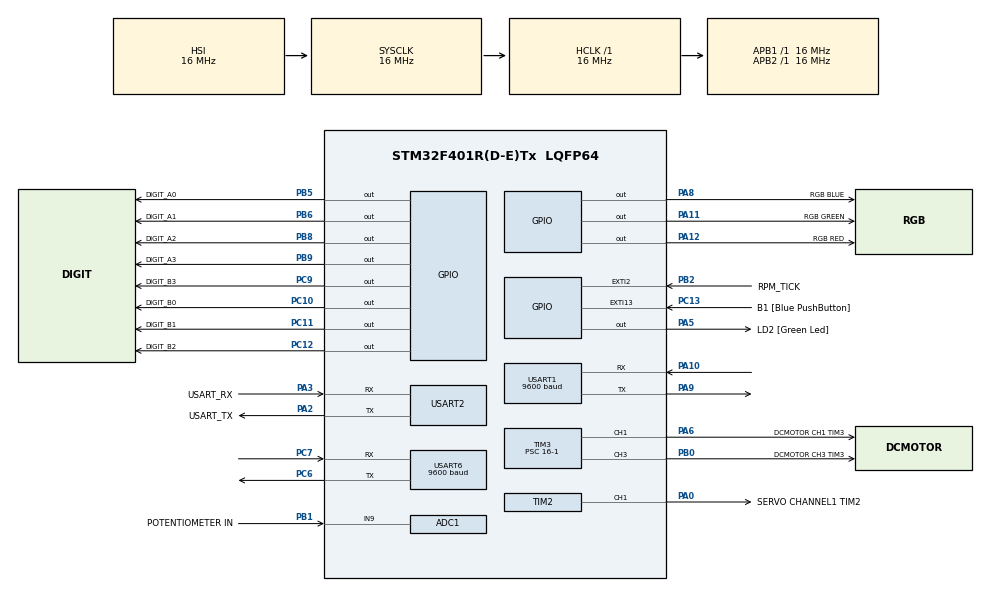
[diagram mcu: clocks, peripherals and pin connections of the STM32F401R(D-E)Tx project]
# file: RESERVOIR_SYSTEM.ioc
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ADC1.Channel-1\#ChannelRegularConversion=ADC_CHANNEL_9
ADC1.NbrOfConversionFlag=1
ADC1.Rank-1\#ChannelRegularConversion=1
ADC1.SamplingTime-1\#ChannelRegularConversion=ADC_SAMPLETIME_3CYCLES
ADC1.master=1
Mcu.Family=STM32F4
Mcu.Name=STM32F401R(D-E)Tx
Mcu.Package=LQFP64
NVIC.EXTI15_10_IRQn=true\:0\:0\:false\:false\:true\:true\:true\:true
NVIC.EXTI2_IRQn=true\:0\:0\:false\:false\:true\:true\:true\:true
NVIC.PriorityGroup=NVIC_PRIORITYGROUP_0
NVIC.TIM4_IRQn=true\:0\:0\:false\:false\:true\:true\:true\:true
NVIC.TIM5_IRQn=true\:0\:0\:false\:false\:true\:true\:true\:true
NVIC.USART1_IRQn=true\:0\:0\:false\:false\:true\:true\:true\:true
NVIC.USART6_IRQn=true\:0\:0\:false\:false\:true\:true\:true\:true
PA0-WKUP.GPIO_Label=SERVO CHANNEL1 TIM2
PA0-WKUP.Signal=S_TIM2_CH1_ETR
PA10.Mode=Asynchronous
PA10.Signal=USART1_RX
PA11.GPIO_Label=RGB GREEN
PA11.Signal=GPIO_Output
PA12.GPIO_Label=RGB RED
PA12.Signal=GPIO_Output
PA13.GPIO_Label=TMS
PA13.Mode=Serial_Wire
PA13.Signal=SYS_JTMS-SWDIO
PA14.GPIO_Label=TCK
PA14.Mode=Serial_Wire
PA14.Signal=SYS_JTCK-SWCLK
PA2.GPIO_Label=USART_TX
PA2.GPIO_Mode=GPIO_MODE_AF_PP
PA2.GPIO_PuPd=GPIO_NOPULL
PA2.GPIO_Speed=GPIO_SPEED_FREQ_LOW
PA2.Mode=Asynchronous
PA2.Signal=USART2_TX
PA3.GPIO_Label=USART_RX
PA3.GPIO_Mode=GPIO_MODE_AF_PP
PA3.GPIO_PuPd=GPIO_NOPULL
PA3.GPIO_Speed=GPIO_SPEED_FREQ_LOW
PA3.Mode=Asynchronous
PA3.Signal=USART2_RX
PA5.GPIO_Label=LD2 [Green Led]
PA5.GPIO_Mode=GPIO_MODE_OUTPUT_PP
PA5.GPIO_PuPd=GPIO_NOPULL
PA5.GPIO_Speed=GPIO_SPEED_FREQ_LOW
PA5.Signal=GPIO_Output
PA6.GPIO_Label=DCMOTOR CH1 TIM3
PA6.Signal=S_TIM3_CH1
PA8.GPIO_Label=RGB BLUE
PA8.Signal=GPIO_Output
PA9.Mode=Asynchronous
PA9.Signal=USART1_TX
PB0.GPIO_Label=DCMOTOR CH3 TIM3
PB0.Signal=S_TIM3_CH3
PB1.GPIO_Label=POTENTIOMETER IN
PB1.Signal=ADCx_IN9
PB2.GPIO_Label=RPM_TICK
PB2.Signal=GPXTI2
PB3.GPIO_Label=SWO
PB3.Signal=SYS_JTDO-SWO
PB5.GPIO_Label=DIGIT_A0
PB5.Signal=GPIO_Output
PB6.GPIO_Label=DIGIT_A1
PB6.Signal=GPIO_Output
PB8.GPIO_Label=DIGIT_A2
PB8.Signal=GPIO_Output
PB9.GPIO_Label=DIGIT_A3
PB9.Signal=GPIO_Output
PC10.GPIO_Label=DIGIT_B0
PC10.Signal=GPIO_Output
PC11.GPIO_Label=DIGIT_B1
PC11.Signal=GPIO_Output
PC12.GPIO_Label=DIGIT_B2
PC12.Signal=GPIO_Output
PC13-ANTI_TAMP.GPIO_Label=B1 [Blue PushButton]
PC13-ANTI_TAMP.GPIO_ModeDefaultEXTI=GPIO_MODE_IT_FALLING
PC13-ANTI_TAMP.GPIO_PuPd=GPIO_NOPULL
PC13-ANTI_TAMP.Signal=GPXTI13
PC14-OSC32_IN.Mode=LSE-External-Oscillator
PC14-OSC32_IN.Signal=RCC_OSC32_IN
PC15-OSC32_OUT.Mode=LSE-External-Oscillator
PC15-OSC32_OUT.Signal=RCC_OSC32_OUT
PC6.Mode=Asynchronous
PC6.Signal=USART6_TX
PC7.Mode=Asynchronous
PC7.Signal=USART6_RX
PC9.GPIO_Label=DIGIT_B3
PC9.Signal=GPIO_Output
PH0\ -\ OSC_IN.Mode=HSE-External-Clock-Source
PH0\ -\ OSC_IN.Signal=RCC_OSC_IN
PH1\ -\ OSC_OUT.Mode=HSE-External-Clock-Source
PH1\ -\ OSC_OUT.Signal=RCC_OSC_OUT
ProjectManager.HeapSize=0x200
ProjectManager.StackSize=0x400
ProjectManager.TargetToolchain=STM32CubeIDE
RCC.48MHZClocksFreq_Value=48000000
RCC.AHBFreq_Value=16000000
RCC.APB1Freq_Value=16000000
RCC.APB1TimFreq_Value=16000000
RCC.APB2Freq_Value=16000000
RCC.APB2TimFreq_Value=16000000
RCC.CortexFreq_Value=16000000
RCC.HCLKFreq_Value=16000000
RCC.HSE_VALUE=8000000
RCC.HSI_VALUE=16000000
RCC.PLLN=336
RCC.PLLP=RCC_PLLP_DIV4
RCC.PLLQ=7
RCC.SYSCLKFreq_VALUE=16000000
RCC.VCOOutputFreq_Value=336000000
SH.ADCx_IN9.0=ADC1_IN9,IN9
SH.S_TIM2_CH1_ETR.0=TIM2_CH1,PWM Generation1 CH1
SH.S_TIM3_CH1.0=TIM3_CH1,PWM Generation1 CH1
SH.S_TIM3_CH3.0=TIM3_CH3,PWM Generation3 CH3
TIM2.AutoReloadPreload=TIM_AUTORELOAD_PRELOAD_ENABLE
TIM2.Channel-PWM\ Generation1\ CH1=TIM_CHANNEL_1
TIM2.Period=20000-1
TIM2.Prescaler=16-1
TIM2.Pulse-PWM\ Generation1\ CH1=500-1
TIM3.AutoReloadPreload=TIM_AUTORELOAD_PRELOAD_ENABLE
TIM3.Channel-PWM\ Generation1\ CH1=TIM_CHANNEL_1
TIM3.Channel-PWM\ Generation3\ CH3=TIM_CHANNEL_3
TIM3.Period=2000-1
TIM3.Prescaler=16-1
TIM3.Pulse-PWM\ Generation1\ CH1=1200-1
TIM4.AutoReloadPreload=TIM_AUTORELOAD_PRELOAD_DISABLE
TIM4.Period=65535
TIM4.Prescaler=16000-1
TIM5.AutoReloadPreload=TIM_AUTORELOAD_PRELOAD_ENABLE
TIM5.Period=1000-1
TIM5.Prescaler=16000-1
USART1.BaudRate=9600
USART1.VirtualMode=VM_ASYNC
USART2.VirtualMode=VM_ASYNC
USART6.BaudRate=9600
USART6.Mode=MODE_TX_RX
USART6.VirtualMode=VM_ASYNC
VP_TIM4_VS_ClockSourceINT.Mode=Internal
VP_TIM5_VS_ClockSourceINT.Mode=Internal
board=NUCLEO-F401RE

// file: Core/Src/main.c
/* USER CODE BEGIN Header */
/**
 ******************************************************************************
 * @file           : main.c
 * @brief          : Main program body
 ******************************************************************************
 * @attention
 *
 * Copyright (c) 2023 STMicroelectronics.
 * All rights reserved.
 *
 * This software is licensed under terms that can be found in the LICENSE file
 * in the root directory of this software component.
 * If no LICENSE file comes with this software, it is provided AS-IS.
 *
 ******************************************************************************
 */
/* USER CODE END Header */
#include "main.h"

/* USER CODE BEGIN Includes */
#include <string.h>
#include <stdio.h>
#include <math.h>
/* USER CODE END Includes */

/* USER CODE BEGIN PM */
void DIGITS_Display(uint8_t DIGIT_A, uint8_t DIGIT_B);
int findMin(int zone1, int zone2, int zone3);
void ADC_Select_CH(int CH);
float GetPwmPercentage();
void DisplayWaterDepth();
/* USER CODE END PM */

ADC_HandleTypeDef hadc1;

TIM_HandleTypeDef htim2;
TIM_HandleTypeDef htim3;
TIM_HandleTypeDef htim4;
TIM_HandleTypeDef htim5;

UART_HandleTypeDef huart1;
UART_HandleTypeDef huart2;
UART_HandleTypeDef huart6;

void SystemClock_Config(void);
static void MX_GPIO_Init(void);
static void MX_USART2_UART_Init(void);
static void MX_TIM2_Init(void);
static void MX_TIM3_Init(void);
static void MX_ADC1_Init(void);
static void MX_USART1_UART_Init(void);
static void MX_USART6_UART_Init(void);
static void MX_TIM5_Init(void);
static void MX_TIM4_Init(void);

/* USER CODE BEGIN 0 */
int clockSecs = 0;
int mins = 0;
int hours = 0;

int terminated = 0;

uint8_t commandToStartDistanceSensor = 0x55;
volatile uint16_t distance = 0;

volatile uint8_t distanceValueRxFlag = 0;
uint8_t distanceValueReturnedBuff[2] = {0};
uint8_t rcv_intpt_flag = 00;
int twoBytesRecieved = 0;
uint8_t bytes[2] = {0};

uint8_t puttyPrintMessage[256] = {0};

volatile uint8_t inletMotorSpeed = 0;
volatile uint8_t zone1MotorSpeed = 0;
volatile uint8_t zone2MotorSpeed = 0;
volatile uint8_t zone3MotorSpeed = 0;

volatile uint8_t wallClockTime = 0;

volatile uint8_t inletStartTime = 0;

volatile uint8_t inletStopTme = 0;
volatile uint8_t zone1StartTime = 0;
volatile uint8_t zone1StopTme = 0;

volatile uint8_t zone2StartTime = 0;
volatile uint8_t zone2StopTme = 0;
volatile uint8_t zone3StartTime = 0;
volatile uint8_t zone3StopTme = 0;

volatile int inletRunning = 0;
volatile int zone1Running = 0;
volatile int zone2Running = 0;
volatile int zone3Running = 0;
volatile int printCondition = 0;

volatile int firstRun = 1;
volatile int currentlyActiveZone = -1;
volatile int currentMotorPwm = 0;
volatile int currentMotorRpm = 0;

volatile int deltaTime = 0;
volatile int speed = 0;

volatile int inletRunTime = 0;
volatile int zone1RunTime = 0;
volatile int zone2RunTime = 0;
volatile int zone3RunTime = 0;

int waterReservoirDepth = 0;

volatile int rpmTickValue = 0;

volatile int setupModeFlag = 1;

/* USER CODE END 0 */

int main(void)
{

  /* MCU Configuration--------------------------------------------------------*/

  /* Reset of all peripherals, Initializes the Flash interface and the Systick. */
  HAL_Init();

  /* Configure the system clock */
  SystemClock_Config();

  /* Initialize all configured peripherals */
  MX_GPIO_Init();
  MX_USART2_UART_Init();
  MX_TIM2_Init();
  MX_TIM3_Init();
  MX_ADC1_Init();
  MX_USART1_UART_Init();
  MX_USART6_UART_Init();
  MX_TIM5_Init();
  MX_TIM4_Init();
  /* USER CODE BEGIN 2 */
    setupModeFlag = 1;

    HAL_TIM_Base_Start(&htim2);
    HAL_TIM_PWM_Start(&htim2, TIM_CHANNEL_1);

    HAL_TIM_Base_Start_IT(&htim5);
    HAL_TIM_Base_Start_IT(&htim4);

    TIM2->PSC = 16 - 1;
    TIM2->ARR = 20000 - 1;
    TIM2->CCR1 = 2500;

    // DC MOTOR
    HAL_TIM_Base_Init(&htim3);
    HAL_TIM_PWM_Start(&htim3, TIM_CHANNEL_1);
    HAL_TIM_PWM_Start(&htim3, TIM_CHANNEL_3);

    TIM3->PSC = 16 - 1;
    //   TIM3->ARR = 2000-1;
    TIM3->CCR1 = 0;
    TIM3->CCR3 = 0;

    sprintf((char *)puttyPrintMessage, "\r\n SETUP MODE ");
    HAL_UART_Transmit(&huart6, puttyPrintMessage, strlen((char *)puttyPrintMessage), 1000);
    HAL_GPIO_WritePin(GPIOA, LD2_Pin, GPIO_PIN_RESET);

  /* USER CODE END 2 */

  /* Infinite loop */
  /* USER CODE BEGIN WHILE */

    while (1)
    {
        if (setupModeFlag == 1)
        {
            rcv_intpt_flag = 00;
            sprintf((char *)puttyPrintMessage, "\r\n INLET MOTOR SPEED PWM (option 0-3): ");
            HAL_UART_Transmit(&huart6, puttyPrintMessage, strlen((char *)puttyPrintMessage), 1000);
            HAL_UART_Receive_IT(&huart6, &bytes[0], 1);
            while (rcv_intpt_flag == (00))
            {
            }
            inletMotorSpeed = bytes[0] - 48;
            rcv_intpt_flag = (00);
            bytes[0] = 0;

            sprintf((char *)puttyPrintMessage, "\r\n ZONE 1 MOTOR SPEED PWM (option 0-3): ");
            HAL_UART_Transmit(&huart6, puttyPrintMessage, strlen((char *)puttyPrintMessage), 1000);
            HAL_UART_Receive_IT(&huart6, &bytes[0], 1);
            while (rcv_intpt_flag == (00))
            {
            }
            zone1MotorSpeed = bytes[0] - 48;
            rcv_intpt_flag = (00);
            bytes[0] = 0;

            sprintf((char *)puttyPrintMessage, "\r\n ZONE 2 MOTOR SPEED PWM (option 0-3): ");
            HAL_UART_Transmit(&huart6, puttyPrintMessage, strlen((char *)puttyPrintMessage), 1000);
            HAL_UART_Receive_IT(&huart6, &bytes[0], 1);

            while (rcv_intpt_flag == (00))
            {
            }
            zone2MotorSpeed = bytes[0] - 48;
            rcv_intpt_flag = (00);
            bytes[0] = 0;

            sprintf((char *)puttyPrintMessage, "\r\n ZONE 3 MOTOR SPEED PWM (option 0-3): ");
            HAL_UART_Transmit(&huart6, puttyPrintMessage, strlen((char *)puttyPrintMessage), 1000);
            HAL_UART_Receive_IT(&huart6, &bytes[0], 1);

            while (rcv_intpt_flag == (00))
            {
            }
            zone3MotorSpeed = bytes[0] - 48;
            rcv_intpt_flag = (00);
            bytes[0] = 0;
            twoBytesRecieved = 1;
            sprintf((char *)puttyPrintMessage, "\r\n CURRENT WALL CLOCK TIME (0-23): ");
            HAL_UART_Transmit(&huart6, puttyPrintMessage, strlen((char *)puttyPrintMessage), 1000);
            HAL_UART_Receive_IT(&huart6, bytes, 2);

            while (rcv_intpt_flag == (00))
            {
            }
            rcv_intpt_flag = (00);
            int value = (bytes[0] - 48) * 10 + (bytes[1] - 48);
            bytes[0] = 0;
            bytes[1] = 0;
            wallClockTime = value;
            hours = wallClockTime;

            sprintf((char *)puttyPrintMessage, "\r\n INLET WALL CLOCK START TIME (0-23): ");
            HAL_UART_Transmit(&huart6, puttyPrintMessage, strlen((char *)puttyPrintMessage), 1000);
            HAL_UART_Receive_IT(&huart6, bytes, 2);

            while (rcv_intpt_flag == (00))
            {
            }
            rcv_intpt_flag = (00);
            value = (bytes[0] - 48) * 10 + (bytes[1] - 48);
            bytes[0] = 0;
            bytes[1] = 0;
            inletStartTime = value;

            sprintf((char *)puttyPrintMessage, "\r\n INLET WALL CLOCK STOP TIME (0-23) : ");
            HAL_UART_Transmit(&huart6, puttyPrintMessage, strlen((char *)puttyPrintMessage), 1000);
            HAL_UART_Receive_IT(&huart6, bytes, 2);

            while (rcv_intpt_flag == (00))
            {
            }
            rcv_intpt_flag = (00);
            value = (bytes[0] - 48) * 10 + (bytes[1] - 48);
            bytes[0] = 0;
            bytes[1] = 0;
            inletStopTme = value;

            inletRunTime = (inletStopTme - inletStartTime) * 6;

            sprintf((char *)puttyPrintMessage, "\r\n ZONE 1 WALL CLOCK START TIME (0-23): ");
            HAL_UART_Transmit(&huart6, puttyPrintMessage, strlen((char *)puttyPrintMessage), 1000);
            HAL_UART_Receive_IT(&huart6, bytes, 2);

            while (rcv_intpt_flag == (00))
            {
            }
            rcv_intpt_flag = (00);
            value = (bytes[0] - 48) * 10 + (bytes[1] - 48);
            bytes[0] = 0;
            bytes[1] = 0;
            zone1StartTime = value;

            sprintf((char *)puttyPrintMessage, "\r\n ZONE 1 WALL CLOCK STOP TIME (0-23) : ");
            HAL_UART_Transmit(&huart6, puttyPrintMessage, strlen((char *)puttyPrintMessage), 1000);
            HAL_UART_Receive_IT(&huart6, bytes, 2);

            while (rcv_intpt_flag == (00))
            {
            }
            rcv_intpt_flag = (00);
            value = (bytes[0] - 48) * 10 + (bytes[1] - 48);
            bytes[0] = 0;
            bytes[1] = 0;
            zone1StopTme = value;

            zone1RunTime = (zone1StopTme - zone1StartTime) * 6;

            sprintf((char *)puttyPrintMessage, "\r\n ZONE 2 WALL CLOCK START TIME (0-23): ");
            HAL_UART_Transmit(&huart6, puttyPrintMessage, strlen((char *)puttyPrintMessage), 1000);
            HAL_UART_Receive_IT(&huart6, bytes, 2);

            while (rcv_intpt_flag == (00))
            {
            }
            rcv_intpt_flag = (00);
            value = (bytes[0] - 48) * 10 + (bytes[1] - 48);
            bytes[0] = 0;
            bytes[1] = 0;
            zone2StartTime = value;

            sprintf((char *)puttyPrintMessage, "\r\n ZONE 2 WALL CLOCK STOP TIME (0-23) : ");
            HAL_UART_Transmit(&huart6, puttyPrintMessage, strlen((char *)puttyPrintMessage), 1000);
            HAL_UART_Receive_IT(&huart6, bytes, 2);

            while (rcv_intpt_flag == (00))
            {
            }
            rcv_intpt_flag = (00);
            value = (bytes[0] - 48) * 10 + (bytes[1] - 48);
            bytes[0] = 0;
            bytes[1] = 0;
            zone2StopTme = value;

            zone2RunTime = (zone2StopTme - zone2StartTime) * 6;

            sprintf((char *)puttyPrintMessage, "\r\n ZONE 3 WALL CLOCK START TIME (0-23): ");
            HAL_UART_Transmit(&huart6, puttyPrintMessage, strlen((char *)puttyPrintMessage), 1000);
            HAL_UART_Receive_IT(&huart6, bytes, 2);

            while (rcv_intpt_flag == (00))
            {
            }
            rcv_intpt_flag = (00);
            value = (bytes[0] - 48) * 10 + (bytes[1] - 48);
            bytes[0] = 0;
            bytes[1] = 0;
            zone3StartTime = value;

            sprintf((char *)puttyPrintMessage, "\r\n ZONE 3 WALL CLOCK STOP TIME (0-23) : ");
            HAL_UART_Transmit(&huart6, puttyPrintMessage, strlen((char *)puttyPrintMessage), 1000);
            HAL_UART_Receive_IT(&huart6, bytes, 2);

            while (rcv_intpt_flag == (00))
            {
            }
            rcv_intpt_flag = (00);
            value = (bytes[0] - 48) * 10 + (bytes[1] - 48);
            bytes[0] = 0;
            bytes[1] = 0;
            zone3StopTme = value;

            zone3RunTime = (zone3StopTme - zone3StartTime) * 6;

            setupModeFlag = 0;
            // Wait for blue button to be pressed
            while (HAL_GPIO_ReadPin(GPIOC, B1_Pin) == 1)
            {
                HAL_GPIO_WritePin(GPIOA, LD2_Pin, GPIO_PIN_SET);
                HAL_Delay(10);
                HAL_GPIO_WritePin(GPIOA, LD2_Pin, GPIO_PIN_RESET);
                HAL_Delay(490);
            }

            HAL_GPIO_WritePin(GPIOA, LD2_Pin, GPIO_PIN_SET);

            clockSecs = 0;

            sprintf((char *)puttyPrintMessage, "\r\n WALL CLOCK | ZONE/INLET | MOTOR PWM | MOTOR RPM | WATER DEPTH");
            HAL_UART_Transmit(&huart6, puttyPrintMessage, strlen((char *)puttyPrintMessage), 1000);
        }

        // END OF SETUP MODE

        // START OF RUN MODE
        if (clockSecs >= 6)
        {
            hours++;
            clockSecs = 0;
            printCondition = 1;
            DisplayWaterDepth();
        }
        DisplayWaterDepth();
        // STARTING OF INLET
        HAL_UART_Receive_IT(&huart1, distanceValueReturnedBuff, 2);
        HAL_UART_Transmit(&huart1, &commandToStartDistanceSensor, 1, 500);

        while (terminated == 1)
        {
            TIM3->CCR3 = 0;
            TIM3->CCR1 = 0;
            HAL_GPIO_WritePin(GPIOA, LD2_Pin, GPIO_PIN_RESET);

            HAL_GPIO_WritePin(GPIOA, LD2_Pin | RGB_BLUE_Pin | RGB_RED_Pin | RGB_GREEN_Pin, GPIO_PIN_RESET);
            HAL_GPIO_WritePin(GPIOA, RGB_RED_Pin, GPIO_PIN_SET);
            HAL_Delay(500);

            HAL_GPIO_WritePin(GPIOA, LD2_Pin | RGB_BLUE_Pin | RGB_RED_Pin | RGB_GREEN_Pin, GPIO_PIN_RESET);
            HAL_GPIO_WritePin(GPIOA, RGB_GREEN_Pin, GPIO_PIN_SET);
            HAL_Delay(500);

            HAL_GPIO_WritePin(GPIOA, LD2_Pin | RGB_BLUE_Pin | RGB_RED_Pin | RGB_GREEN_Pin, GPIO_PIN_RESET);
            HAL_GPIO_WritePin(GPIOA, RGB_BLUE_Pin, GPIO_PIN_SET);
            HAL_Delay(500);
        }

        if ((hours == inletStartTime) && (inletRunning == 0))
        {
            inletRunning = 1;
            currentlyActiveZone = 0;
            if (inletMotorSpeed == 0)
            {
                float adc = GetPwmPercentage();
                float adc_speed = (adc * 2000);
                TIM3->CCR1 = adc_speed;
                currentMotorPwm = (int)(adc * 100);
            }

            TIM2->CCR1 = 500;
            HAL_GPIO_WritePin(GPIOA, LD2_Pin | RGB_BLUE_Pin | RGB_RED_Pin | RGB_GREEN_Pin, GPIO_PIN_RESET);
            HAL_GPIO_WritePin(GPIOA, LD2_Pin | RGB_BLUE_Pin | RGB_RED_Pin, GPIO_PIN_SET);

            // Rotating DC Motor for inlet
            TIM3->CCR3 = 0;
            if (inletMotorSpeed == 1)
            {
                // 60% pwm -> 0.6x2000
                TIM3->CCR1 = 1200;
                currentMotorPwm = 60;
            }
            if (inletMotorSpeed == 2)
            {
                // 80% pwm -> 0.8x2000
                TIM3->CCR1 = 1600;
                currentMotorPwm = 80;
            }
            if (inletMotorSpeed == 3)
            {
                // 99% pwm -> 0.99x2000
                TIM3->CCR1 = 1980;
                currentMotorPwm = 99;
            }
        }

        // END INLET
        if ((hours == inletStopTme) && (inletRunning == 1))
        {
            if ((hours == zone3StartTime) || (hours == zone2StartTime) || (hours == zone1StartTime))
            {
            }
            else
            {
                TIM3->CCR1 = 0;
                TIM3->CCR3 = 0;
                HAL_GPIO_WritePin(GPIOA, LD2_Pin | RGB_BLUE_Pin | RGB_RED_Pin | RGB_GREEN_Pin, GPIO_PIN_RESET);
            }
        }

        // ZONE 1 START
        if ((hours == zone1StartTime) && (zone1Running == 0))
        {
            zone1Running = 1;
            currentlyActiveZone = 1;
            if (zone1MotorSpeed == 0)
            {
                float adc = GetPwmPercentage();
                float adc_speed = (adc * 2000);
                TIM3->CCR3 = adc_speed;
                currentMotorPwm = (int)(adc * 100);
            }

            TIM2->CCR1 = 2000;
            HAL_GPIO_WritePin(GPIOA, LD2_Pin | RGB_BLUE_Pin | RGB_RED_Pin | RGB_GREEN_Pin, GPIO_PIN_RESET);
            HAL_GPIO_WritePin(GPIOA, LD2_Pin | RGB_RED_Pin, GPIO_PIN_SET);

            TIM3->CCR1 = 0;
            if (zone1MotorSpeed == 1)
            {
                // 60% pwm -> 0.6x2000
                TIM3->CCR3 = 1200;
                currentMotorPwm = 60;
            }
            if (zone1MotorSpeed == 2)
            {
                // 80% pwm -> 0.8x2000
                TIM3->CCR3 = 1600;
                currentMotorPwm = 80;
            }
            if (zone1MotorSpeed == 3)
            {
                // 99% pwm -> 0.99x2000
                TIM3->CCR3 = 1980;
                currentMotorPwm = 99;
            }
        }

        // ZONE 1 END
        if ((hours == zone1StopTme) && (zone1Running == 1))
        {
            if ((hours == zone3StartTime) || (hours == zone2StartTime) || (hours == zone1StartTime))
            {
            }
            else
            {
                TIM3->CCR1 = 0;
                TIM3->CCR3 = 0;
                HAL_GPIO_WritePin(GPIOA, LD2_Pin | RGB_BLUE_Pin | RGB_RED_Pin | RGB_GREEN_Pin, GPIO_PIN_RESET);
            }
        }

        // ZONE 2 START
        if ((hours == zone2StartTime) && (zone2Running == 0))
        {
            zone2Running = 1;
            currentlyActiveZone = 2;
            if (zone2MotorSpeed == 0)
            {
                float adc = GetPwmPercentage();
                float adc_speed = (adc * 2000);
                TIM3->CCR3 = adc_speed;
                currentMotorPwm = (int)(adc * 100);
            }

            TIM2->CCR1 = 1500;
            HAL_GPIO_WritePin(GPIOA, LD2_Pin | RGB_BLUE_Pin | RGB_RED_Pin | RGB_GREEN_Pin, GPIO_PIN_RESET);
            HAL_GPIO_WritePin(GPIOA, LD2_Pin | RGB_GREEN_Pin, GPIO_PIN_SET);

            TIM3->CCR1 = 0;
            if (zone2MotorSpeed == 1)
            {
                TIM3->CCR3 = 1200;
                currentMotorPwm = 60;
            }
            if (zone2MotorSpeed == 2)
            {
                TIM3->CCR3 = 1600;
                currentMotorPwm = 80;
            }
            if (zone2MotorSpeed == 3)
            {
                TIM3->CCR3 = 1980;
                currentMotorPwm = 99;
            }
        }

        // ZONE 2 END
        if ((hours == zone2StopTme) && (zone2Running == 1))
        {
            if ((hours == zone3StartTime) || (hours == zone2StartTime) || (hours == zone1StartTime))
            {
            }
            else
            {
                TIM3->CCR1 = 0;
                TIM3->CCR3 = 0;
                HAL_GPIO_WritePin(GPIOA, LD2_Pin | RGB_BLUE_Pin | RGB_RED_Pin | RGB_GREEN_Pin, GPIO_PIN_RESET);
            }
        }

        // ZONE 3 START
        if ((hours == zone3StartTime) && (zone3Running == 0))
        {
            zone3Running = 1;
            currentlyActiveZone = 3;
            if (zone3MotorSpeed == 0)
            {
                float adc = GetPwmPercentage();
                float adc_speed = (adc * 2000);
                TIM3->CCR3 = adc_speed;
                currentMotorPwm = (int)(adc * 100);
            }

            TIM2->CCR1 = 1000;
            HAL_GPIO_WritePin(GPIOA, LD2_Pin | RGB_BLUE_Pin | RGB_RED_Pin | RGB_GREEN_Pin, GPIO_PIN_RESET);
            HAL_GPIO_WritePin(GPIOA, LD2_Pin | RGB_BLUE_Pin, GPIO_PIN_SET); // turn on blue

            TIM3->CCR1 = 0;
            if (zone3MotorSpeed == 1)
            {
                // 60% pwm -> 0.6x2000
                TIM3->CCR3 = 1200;
                currentMotorPwm = 60;
            }
            if (zone3MotorSpeed == 2)
            {
                // 80% pwm -> 0.8x2000
                TIM3->CCR3 = 1600;
                currentMotorPwm = 80;
            }
            if (zone3MotorSpeed == 3)
            {
                // 99% pwm -> 0.99x2000
                TIM3->CCR3 = 1980;
                currentMotorPwm = 99;
            }
        }

        // ZONE 3 END
        if ((hours == zone3StopTme) && (zone3Running == 1))
        {
            currentMotorPwm = 0;
            if ((hours == zone3StartTime) || (hours == zone2StartTime) || (hours == zone1StartTime))
            {
            }
            else
            {
                TIM3->CCR1 = 0;
                TIM3->CCR3 = 0;
                HAL_GPIO_WritePin(GPIOA, LD2_Pin | RGB_BLUE_Pin | RGB_RED_Pin | RGB_GREEN_Pin, GPIO_PIN_RESET);
            }
        }
        if (printCondition == 1)
        {

            printCondition = 0;
            sprintf((char *)puttyPrintMessage, "\r\n %02d | %02d | %02d | %02d | %02d ", hours, currentlyActiveZone, currentMotorPwm, speed, waterReservoirDepth);
            HAL_UART_Transmit(&huart6, puttyPrintMessage, strlen((char *)puttyPrintMessage), 1000);
        }
        if (firstRun == 1 && clockSecs == 1)
        {
            DisplayWaterDepth();
            firstRun = 0;
            sprintf((char *)puttyPrintMessage, "\r\n %02d | %02d | %02d | %02d | %02d ", hours, currentlyActiveZone, currentMotorPwm, speed, waterReservoirDepth);
            HAL_UART_Transmit(&huart6, puttyPrintMessage, strlen((char *)puttyPrintMessage), 1000);
        }

    /* USER CODE END WHILE */

    }
}

void SystemClock_Config(void)
{
  RCC_OscInitTypeDef RCC_OscInitStruct = {0};
  RCC_ClkInitTypeDef RCC_ClkInitStruct = {0};

  /** Configure the main internal regulator output voltage
  */
  __HAL_RCC_PWR_CLK_ENABLE();
  __HAL_PWR_VOLTAGESCALING_CONFIG(PWR_REGULATOR_VOLTAGE_SCALE2);

  /** Initializes the RCC Oscillators according to the specified parameters
  * in the RCC_OscInitTypeDef structure.
  */
  RCC_OscInitStruct.OscillatorType = RCC_OSCILLATORTYPE_HSI;
  RCC_OscInitStruct.HSIState = RCC_HSI_ON;
  RCC_OscInitStruct.HSICalibrationValue = RCC_HSICALIBRATION_DEFAULT;
  RCC_OscInitStruct.PLL.PLLState = RCC_PLL_NONE;
  if (HAL_RCC_OscConfig(&RCC_OscInitStruct) != HAL_OK)
  {
    Error_Handler();
  }

  /** Initializes the CPU, AHB and APB buses clocks
  */
  RCC_ClkInitStruct.ClockType = RCC_CLOCKTYPE_HCLK|RCC_CLOCKTYPE_SYSCLK
                              |RCC_CLOCKTYPE_PCLK1|RCC_CLOCKTYPE_PCLK2;
  RCC_ClkInitStruct.SYSCLKSource = RCC_SYSCLKSOURCE_HSI;
  RCC_ClkInitStruct.AHBCLKDivider = RCC_SYSCLK_DIV1;
  RCC_ClkInitStruct.APB1CLKDivider = RCC_HCLK_DIV1;
  RCC_ClkInitStruct.APB2CLKDivider = RCC_HCLK_DIV1;

  if (HAL_RCC_ClockConfig(&RCC_ClkInitStruct, FLASH_LATENCY_0) != HAL_OK)
  {
    Error_Handler();
  }
}

static void MX_ADC1_Init(void)
{

  ADC_ChannelConfTypeDef sConfig = {0};

  /** Configure the global features of the ADC (Clock, Resolution, Data Alignment and number of conversion)
  */
  hadc1.Instance = ADC1;
  hadc1.Init.ClockPrescaler = ADC_CLOCK_SYNC_PCLK_DIV2;
  hadc1.Init.Resolution = ADC_RESOLUTION_12B;
  hadc1.Init.ScanConvMode = DISABLE;
  hadc1.Init.ContinuousConvMode = DISABLE;
  hadc1.Init.DiscontinuousConvMode = DISABLE;
  hadc1.Init.ExternalTrigConvEdge = ADC_EXTERNALTRIGCONVEDGE_NONE;
  hadc1.Init.ExternalTrigConv = ADC_SOFTWARE_START;
  hadc1.Init.DataAlign = ADC_DATAALIGN_RIGHT;
  hadc1.Init.NbrOfConversion = 1;
  hadc1.Init.DMAContinuousRequests = DISABLE;
  hadc1.Init.EOCSelection = ADC_EOC_SINGLE_CONV;
  if (HAL_ADC_Init(&hadc1) != HAL_OK)
  {
    Error_Handler();
  }

  /** Configure for the selected ADC regular channel its corresponding rank in the sequencer and its sample time.
  */
  sConfig.Channel = ADC_CHANNEL_9;
  sConfig.Rank = 1;
  sConfig.SamplingTime = ADC_SAMPLETIME_3CYCLES;
  if (HAL_ADC_ConfigChannel(&hadc1, &sConfig) != HAL_OK)
  {
    Error_Handler();
  }

}

static void MX_TIM2_Init(void)
{

  TIM_MasterConfigTypeDef sMasterConfig = {0};
  TIM_OC_InitTypeDef sConfigOC = {0};

  htim2.Instance = TIM2;
  htim2.Init.Prescaler = 16-1;
  htim2.Init.CounterMode = TIM_COUNTERMODE_UP;
  htim2.Init.Period = 20000-1;
  htim2.Init.ClockDivision = TIM_CLOCKDIVISION_DIV1;
  htim2.Init.AutoReloadPreload = TIM_AUTORELOAD_PRELOAD_ENABLE;
  if (HAL_TIM_PWM_Init(&htim2) != HAL_OK)
  {
    Error_Handler();
  }
  sMasterConfig.MasterOutputTrigger = TIM_TRGO_RESET;
  sMasterConfig.MasterSlaveMode = TIM_MASTERSLAVEMODE_DISABLE;
  if (HAL_TIMEx_MasterConfigSynchronization(&htim2, &sMasterConfig) != HAL_OK)
  {
    Error_Handler();
  }
  sConfigOC.OCMode = TIM_OCMODE_PWM1;
  sConfigOC.Pulse = 500-1;
  sConfigOC.OCPolarity = TIM_OCPOLARITY_HIGH;
  sConfigOC.OCFastMode = TIM_OCFAST_DISABLE;
  if (HAL_TIM_PWM_ConfigChannel(&htim2, &sConfigOC, TIM_CHANNEL_1) != HAL_OK)
  {
    Error_Handler();
  }
  HAL_TIM_MspPostInit(&htim2);

}

static void MX_TIM3_Init(void)
{

  TIM_MasterConfigTypeDef sMasterConfig = {0};
  TIM_OC_InitTypeDef sConfigOC = {0};

  htim3.Instance = TIM3;
  htim3.Init.Prescaler = 16-1;
  htim3.Init.CounterMode = TIM_COUNTERMODE_UP;
  htim3.Init.Period = 2000-1;
  htim3.Init.ClockDivision = TIM_CLOCKDIVISION_DIV1;
  htim3.Init.AutoReloadPreload = TIM_AUTORELOAD_PRELOAD_ENABLE;
  if (HAL_TIM_PWM_Init(&htim3) != HAL_OK)
  {
    Error_Handler();
  }
  sMasterConfig.MasterOutputTrigger = TIM_TRGO_RESET;
  sMasterConfig.MasterSlaveMode = TIM_MASTERSLAVEMODE_DISABLE;
  if (HAL_TIMEx_MasterConfigSynchronization(&htim3, &sMasterConfig) != HAL_OK)
  {
    Error_Handler();
  }
  sConfigOC.OCMode = TIM_OCMODE_PWM1;
  sConfigOC.Pulse = 1200-1;
  sConfigOC.OCPolarity = TIM_OCPOLARITY_HIGH;
  sConfigOC.OCFastMode = TIM_OCFAST_DISABLE;
  if (HAL_TIM_PWM_ConfigChannel(&htim3, &sConfigOC, TIM_CHANNEL_1) != HAL_OK)
  {
    Error_Handler();
  }
  sConfigOC.Pulse = 0;
  if (HAL_TIM_PWM_ConfigChannel(&htim3, &sConfigOC, TIM_CHANNEL_3) != HAL_OK)
  {
    Error_Handler();
  }
  HAL_TIM_MspPostInit(&htim3);

}

static void MX_TIM4_Init(void)
{

  TIM_ClockConfigTypeDef sClockSourceConfig = {0};
  TIM_MasterConfigTypeDef sMasterConfig = {0};

  htim4.Instance = TIM4;
  htim4.Init.Prescaler = 16000-1;
  htim4.Init.CounterMode = TIM_COUNTERMODE_UP;
  htim4.Init.Period = 65535;
  htim4.Init.ClockDivision = TIM_CLOCKDIVISION_DIV1;
  htim4.Init.AutoReloadPreload = TIM_AUTORELOAD_PRELOAD_DISABLE;
  if (HAL_TIM_Base_Init(&htim4) != HAL_OK)
  {
    Error_Handler();
  }
  sClockSourceConfig.ClockSource = TIM_CLOCKSOURCE_INTERNAL;
  if (HAL_TIM_ConfigClockSource(&htim4, &sClockSourceConfig) != HAL_OK)
  {
    Error_Handler();
  }
  sMasterConfig.MasterOutputTrigger = TIM_TRGO_RESET;
  sMasterConfig.MasterSlaveMode = TIM_MASTERSLAVEMODE_DISABLE;
  if (HAL_TIMEx_MasterConfigSynchronization(&htim4, &sMasterConfig) != HAL_OK)
  {
    Error_Handler();
  }

}

static void MX_TIM5_Init(void)
{

  TIM_ClockConfigTypeDef sClockSourceConfig = {0};
  TIM_MasterConfigTypeDef sMasterConfig = {0};

  htim5.Instance = TIM5;
  htim5.Init.Prescaler = 16000-1;
  htim5.Init.CounterMode = TIM_COUNTERMODE_UP;
  htim5.Init.Period = 1000-1;
  htim5.Init.ClockDivision = TIM_CLOCKDIVISION_DIV1;
  htim5.Init.AutoReloadPreload = TIM_AUTORELOAD_PRELOAD_ENABLE;
  if (HAL_TIM_Base_Init(&htim5) != HAL_OK)
  {
    Error_Handler();
  }
  sClockSourceConfig.ClockSource = TIM_CLOCKSOURCE_INTERNAL;
  if (HAL_TIM_ConfigClockSource(&htim5, &sClockSourceConfig) != HAL_OK)
  {
    Error_Handler();
  }
  sMasterConfig.MasterOutputTrigger = TIM_TRGO_RESET;
  sMasterConfig.MasterSlaveMode = TIM_MASTERSLAVEMODE_DISABLE;
  if (HAL_TIMEx_MasterConfigSynchronization(&htim5, &sMasterConfig) != HAL_OK)
  {
    Error_Handler();
  }

}

static void MX_USART1_UART_Init(void)
{

  huart1.Instance = USART1;
  huart1.Init.BaudRate = 9600;
  huart1.Init.WordLength = UART_WORDLENGTH_8B;
  huart1.Init.StopBits = UART_STOPBITS_1;
  huart1.Init.Parity = UART_PARITY_NONE;
  huart1.Init.Mode = UART_MODE_TX_RX;
  huart1.Init.HwFlowCtl = UART_HWCONTROL_NONE;
  huart1.Init.OverSampling = UART_OVERSAMPLING_16;
  if (HAL_UART_Init(&huart1) != HAL_OK)
  {
    Error_Handler();
  }

}

static void MX_USART2_UART_Init(void)
{

  huart2.Instance = USART2;
  huart2.Init.BaudRate = 115200;
  huart2.Init.WordLength = UART_WORDLENGTH_8B;
  huart2.Init.StopBits = UART_STOPBITS_1;
  huart2.Init.Parity = UART_PARITY_NONE;
  huart2.Init.Mode = UART_MODE_TX_RX;
  huart2.Init.HwFlowCtl = UART_HWCONTROL_NONE;
  huart2.Init.OverSampling = UART_OVERSAMPLING_16;
  if (HAL_UART_Init(&huart2) != HAL_OK)
  {
    Error_Handler();
  }

}

static void MX_USART6_UART_Init(void)
{

  huart6.Instance = USART6;
  huart6.Init.BaudRate = 9600;
  huart6.Init.WordLength = UART_WORDLENGTH_8B;
  huart6.Init.StopBits = UART_STOPBITS_1;
  huart6.Init.Parity = UART_PARITY_NONE;
  huart6.Init.Mode = UART_MODE_TX_RX;
  huart6.Init.HwFlowCtl = UART_HWCONTROL_NONE;
  huart6.Init.OverSampling = UART_OVERSAMPLING_16;
  if (HAL_UART_Init(&huart6) != HAL_OK)
  {
    Error_Handler();
  }

}

static void MX_GPIO_Init(void)
{
  GPIO_InitTypeDef GPIO_InitStruct = {0};

  /* GPIO Ports Clock Enable */
  __HAL_RCC_GPIOC_CLK_ENABLE();
  __HAL_RCC_GPIOH_CLK_ENABLE();
  __HAL_RCC_GPIOA_CLK_ENABLE();
  __HAL_RCC_GPIOB_CLK_ENABLE();

  /*Configure GPIO pin Output Level */
  HAL_GPIO_WritePin(GPIOA, LD2_Pin|RGB_BLUE_Pin|RGB_GREEN_Pin|RGB_RED_Pin, GPIO_PIN_RESET);

  /*Configure GPIO pin Output Level */
  HAL_GPIO_WritePin(GPIOC, DIGIT_B3_Pin|DIGIT_B0_Pin|DIGIT_B1_Pin|DIGIT_B2_Pin, GPIO_PIN_RESET);

  /*Configure GPIO pin Output Level */
  HAL_GPIO_WritePin(GPIOB, DIGIT_A0_Pin|DIGIT_A1_Pin|DIGIT_A2_Pin|DIGIT_A3_Pin, GPIO_PIN_RESET);

  /*Configure GPIO pin : B1_Pin */
  GPIO_InitStruct.Pin = B1_Pin;
  GPIO_InitStruct.Mode = GPIO_MODE_IT_FALLING;
  GPIO_InitStruct.Pull = GPIO_NOPULL;
  HAL_GPIO_Init(B1_GPIO_Port, &GPIO_InitStruct);

  /*Configure GPIO pins : LD2_Pin RGB_BLUE_Pin RGB_GREEN_Pin RGB_RED_Pin */
  GPIO_InitStruct.Pin = LD2_Pin|RGB_BLUE_Pin|RGB_GREEN_Pin|RGB_RED_Pin;
  GPIO_InitStruct.Mode = GPIO_MODE_OUTPUT_PP;
  GPIO_InitStruct.Pull = GPIO_NOPULL;
  GPIO_InitStruct.Speed = GPIO_SPEED_FREQ_LOW;
  HAL_GPIO_Init(GPIOA, &GPIO_InitStruct);

  /*Configure GPIO pin : RPM_TICK_Pin */
  GPIO_InitStruct.Pin = RPM_TICK_Pin;
  GPIO_InitStruct.Mode = GPIO_MODE_IT_RISING;
  GPIO_InitStruct.Pull = GPIO_NOPULL;
  HAL_GPIO_Init(RPM_TICK_GPIO_Port, &GPIO_InitStruct);

  /*Configure GPIO pins : DIGIT_B3_Pin DIGIT_B0_Pin DIGIT_B1_Pin DIGIT_B2_Pin */
  GPIO_InitStruct.Pin = DIGIT_B3_Pin|DIGIT_B0_Pin|DIGIT_B1_Pin|DIGIT_B2_Pin;
  GPIO_InitStruct.Mode = GPIO_MODE_OUTPUT_PP;
  GPIO_InitStruct.Pull = GPIO_NOPULL;
  GPIO_InitStruct.Speed = GPIO_SPEED_FREQ_LOW;
  HAL_GPIO_Init(GPIOC, &GPIO_InitStruct);

  /*Configure GPIO pins : DIGIT_A0_Pin DIGIT_A1_Pin DIGIT_A2_Pin DIGIT_A3_Pin */
  GPIO_InitStruct.Pin = DIGIT_A0_Pin|DIGIT_A1_Pin|DIGIT_A2_Pin|DIGIT_A3_Pin;
  GPIO_InitStruct.Mode = GPIO_MODE_OUTPUT_PP;
  GPIO_InitStruct.Pull = GPIO_NOPULL;
  GPIO_InitStruct.Speed = GPIO_SPEED_FREQ_LOW;
  HAL_GPIO_Init(GPIOB, &GPIO_InitStruct);

  /* EXTI interrupt init*/
  HAL_NVIC_SetPriority(EXTI2_IRQn, 0, 0);
  HAL_NVIC_EnableIRQ(EXTI2_IRQn);

  HAL_NVIC_SetPriority(EXTI15_10_IRQn, 0, 0);
  HAL_NVIC_EnableIRQ(EXTI15_10_IRQn);

}

/* USER CODE BEGIN 4 */

int findMin(int zone1, int zone2, int zone3)
{
    int min = zone1;
    int zoneNumber = 1;

    if (zone2 < min)
    {
        min = zone2;
        zoneNumber = 2;
    }

    if (zone3 < min)
    {
        min = zone3;
        zoneNumber = 3;
    }
    return zoneNumber;
}

void ADC_Select_CH(int CH)
{
    ADC_ChannelConfTypeDef sConfig = {0};
    switch (CH)
    {
    case 0:
        sConfig.Channel = ADC_CHANNEL_0;
        sConfig.Rank = 1;
        if (HAL_ADC_ConfigChannel(&hadc1, &sConfig) != HAL_OK)
        {
            Error_Handler();
        }
        break;
    case 1:
        sConfig.Channel = ADC_CHANNEL_1;
        sConfig.Rank = 1;
        if (HAL_ADC_ConfigChannel(&hadc1, &sConfig) != HAL_OK)
        {
            Error_Handler();
        }
        break;
    case 2:
        sConfig.Channel = ADC_CHANNEL_2;
        sConfig.Rank = 1;
        if (HAL_ADC_ConfigChannel(&hadc1, &sConfig) != HAL_OK)
        {
            Error_Handler();
        }
        break;
    case 3:
        sConfig.Channel = ADC_CHANNEL_3;
        sConfig.Rank = 1;
        if (HAL_ADC_ConfigChannel(&hadc1, &sConfig) != HAL_OK)
        {
            Error_Handler();
        }
        break;
    case 4:
        sConfig.Channel = ADC_CHANNEL_4;
        sConfig.Rank = 1;
        if (HAL_ADC_ConfigChannel(&hadc1, &sConfig) != HAL_OK)
        {
            Error_Handler();
        }
        break;
    case 5:
        sConfig.Channel = ADC_CHANNEL_5;
        sConfig.Rank = 1;
        if (HAL_ADC_ConfigChannel(&hadc1, &sConfig) != HAL_OK)
        {
            Error_Handler();
        }
        break;
    case 6:
        sConfig.Channel = ADC_CHANNEL_6;
        sConfig.Rank = 1;
        if (HAL_ADC_ConfigChannel(&hadc1, &sConfig) != HAL_OK)
        {
            Error_Handler();
        }
        break;
    case 7:
        sConfig.Channel = ADC_CHANNEL_7;
        sConfig.Rank = 1;
        if (HAL_ADC_ConfigChannel(&hadc1, &sConfig) != HAL_OK)
        {
            Error_Handler();
        }
        break;
    case 8:
        sConfig.Channel = ADC_CHANNEL_8;
        sConfig.Rank = 1;
        if (HAL_ADC_ConfigChannel(&hadc1, &sConfig) != HAL_OK)
        {
            Error_Handler();
        }
        break;
    case 9:
        sConfig.Channel = ADC_CHANNEL_9;
        sConfig.Rank = 1;
        if (HAL_ADC_ConfigChannel(&hadc1, &sConfig) != HAL_OK)
        {
            Error_Handler();
        }
        break;
    case 10:
        sConfig.Channel = ADC_CHANNEL_10;
        sConfig.Rank = 1;
        if (HAL_ADC_ConfigChannel(&hadc1, &sConfig) != HAL_OK)
        {
            Error_Handler();
        }
        break;
    case 11:
        sConfig.Channel = ADC_CHANNEL_11;
        sConfig.Rank = 1;
        if (HAL_ADC_ConfigChannel(&hadc1, &sConfig) != HAL_OK)
        {
            Error_Handler();
        }
        break;
    case 12:
        sConfig.Channel = ADC_CHANNEL_12;
        sConfig.Rank = 1;
        if (HAL_ADC_ConfigChannel(&hadc1, &sConfig) != HAL_OK)
        {
            Error_Handler();
        }
        break;
    case 13:
        sConfig.Channel = ADC_CHANNEL_13;
        sConfig.Rank = 1;
        if (HAL_ADC_ConfigChannel(&hadc1, &sConfig) != HAL_OK)
        {
            Error_Handler();
        }
        break;
    case 14:
        sConfig.Channel = ADC_CHANNEL_14;
        sConfig.Rank = 1;
        if (HAL_ADC_ConfigChannel(&hadc1, &sConfig) != HAL_OK)
        {
            Error_Handler();
        }
        break;
    case 15:
        sConfig.Channel = ADC_CHANNEL_15;
        sConfig.Rank = 1;
        if (HAL_ADC_ConfigChannel(&hadc1, &sConfig) != HAL_OK)
        {
            Error_Handler();
        }
        break;
    }
}

float GetPwmPercentage()
{
    ADC_Select_CH(9);
    HAL_ADC_Start(&hadc1);
    HAL_ADC_PollForConversion(&hadc1, 1000);
    uint8_t ADC_CH9 = HAL_ADC_GetValue(&hadc1);
    HAL_ADC_Stop(&hadc1);
    return (ADC_CH9 / 255.00);
}

void DisplayWaterDepth()
{
    distance = (distanceValueReturnedBuff[0] << 8) | distanceValueReturnedBuff[1];
    if (distance > 200) // 15 cm
    {
        DIGITS_Display(10, 0);
        terminated = 1;
        waterReservoirDepth = 0;
        sprintf((char *)puttyPrintMessage, "\r\n RESERVOIR IS EMPTY");
        HAL_UART_Transmit(&huart6, puttyPrintMessage, strlen((char *)puttyPrintMessage), 1000);
    }
    else if (distance < 70) // 7 cm
    {
        waterReservoirDepth = 99;
        DIGITS_Display(9, 9);
    }
    else
    {
        uint8_t dig_1 = (100 - floor((distance / 500.0) * 100)) / 10;
        uint8_t dig_2 = 100 - (floor((distance / 500.0) * 100));
        waterReservoirDepth = (dig_1 * 10) + (dig_2 % 10);
        DIGITS_Display(dig_1, dig_2 % 10);
    }
}

void HAL_UART_RxCpltCallback(UART_HandleTypeDef *huart)
{
    if (huart->Instance == USART6)
    {
        if (twoBytesRecieved == 0)
        {
            HAL_UART_Transmit(&huart6, &bytes[0], 1, 100);
        }
        else
        {
            HAL_UART_Transmit(&huart6, bytes, 2, 200);
        }

        rcv_intpt_flag = 1;
    }

    if (huart->Instance == USART1)
    {
        distanceValueRxFlag = 01;
    }
}
void HAL_TIM_PeriodElapsedCallback(TIM_HandleTypeDef *htim)
{
    if (htim->Instance == TIM5)
    {
        clockSecs += 1;
        if (clockSecs == 6)
        {
            speed = (rpmTickValue / 20.0);
            rpmTickValue = 0;
        }
    }
}

void DIGITS_Display(uint8_t DIGIT_A, uint8_t DIGIT_B)
{
    uint8_t DIGITA_VAL = 0x0F & DIGIT_A;
    int Abit0 = (DIGITA_VAL) & 1;
    int Abit1 = (DIGITA_VAL >> 1) & 1;
    int Abit2 = (DIGITA_VAL >> 2) & 1;
    int Abit3 = (DIGITA_VAL >> 3) & 1;

    uint8_t DIGITB_VAL = 0x0F & DIGIT_B;
    int Bbit0 = (DIGITB_VAL) & 1;
    int Bbit1 = (DIGITB_VAL >> 1) & 1;
    int Bbit2 = (DIGITB_VAL >> 2) & 1;
    int Bbit3 = (DIGITB_VAL >> 3) & 1;

    if (Abit0 == (0))
    {
        HAL_GPIO_WritePin(GPIOB, DIGIT_A0_Pin, GPIO_PIN_RESET);
    }
    else
    {
        HAL_GPIO_WritePin(GPIOB, DIGIT_A0_Pin, GPIO_PIN_SET);
    }
    if (Abit1 == (0))
    {
        HAL_GPIO_WritePin(GPIOB, DIGIT_A1_Pin, GPIO_PIN_RESET);
    }
    else
    {
        HAL_GPIO_WritePin(GPIOB, DIGIT_A1_Pin, GPIO_PIN_SET);
    }
    if (Abit2 == (0))
    {
        HAL_GPIO_WritePin(GPIOB, DIGIT_A2_Pin, GPIO_PIN_RESET);
    }
    else
    {
        HAL_GPIO_WritePin(GPIOB, DIGIT_A2_Pin, GPIO_PIN_SET);
    }
    if (Abit3 == (0))
    {
        HAL_GPIO_WritePin(GPIOB, DIGIT_A3_Pin, GPIO_PIN_RESET);
    }
    else
    {
        HAL_GPIO_WritePin(GPIOB, DIGIT_A3_Pin, GPIO_PIN_SET);
    }

    if (Bbit0 == (0))
    {
        HAL_GPIO_WritePin(GPIOC, DIGIT_B0_Pin, GPIO_PIN_RESET);
    }
    else
    {
        HAL_GPIO_WritePin(GPIOC, DIGIT_B0_Pin, GPIO_PIN_SET);
    }
    if (Bbit1 == (0))
    {
        HAL_GPIO_WritePin(GPIOC, DIGIT_B1_Pin, GPIO_PIN_RESET);
    }
    else
    {
        HAL_GPIO_WritePin(GPIOC, DIGIT_B1_Pin, GPIO_PIN_SET);
    }
    if (Bbit2 == (0))
    {
        HAL_GPIO_WritePin(GPIOC, DIGIT_B2_Pin, GPIO_PIN_RESET);
    }
    else
    {
        HAL_GPIO_WritePin(GPIOC, DIGIT_B2_Pin, GPIO_PIN_SET);
    }
    if (Bbit3 == (0))
    {
        HAL_GPIO_WritePin(GPIOC, DIGIT_B3_Pin, GPIO_PIN_RESET);
    }
    else
    {
        HAL_GPIO_WritePin(GPIOC, DIGIT_B3_Pin, GPIO_PIN_SET);
    }
}

void HAL_GPIO_EXTI_Callback(uint16_t GPIO_Pin)
{

    if (GPIO_Pin == RPM_TICK_Pin)
    {
        rpmTickValue += 1;
    }
}

/* USER CODE END 4 */

void Error_Handler(void)
{
    __disable_irq();
    while (1)
    {
    }
}
